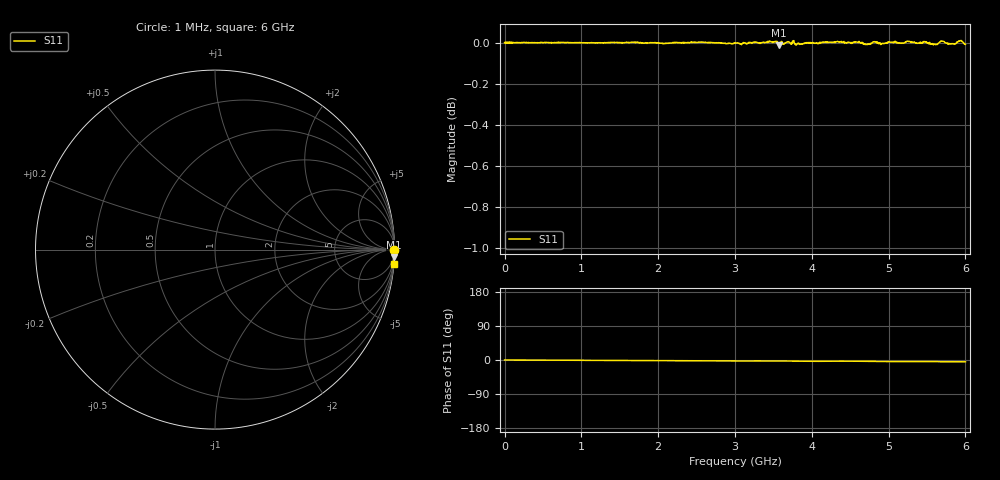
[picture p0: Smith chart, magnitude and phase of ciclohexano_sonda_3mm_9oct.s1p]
! COPPER MOUNTAIN TECHNOLOGIES, R60, 23103002, 24.3.3/3.0
! Date: 9/10/2026 12:02:29
! Data: Format [Calibration Info]
! Frequency		S11: Mag/Ang RO
# HZ S MA R 50
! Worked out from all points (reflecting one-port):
!   1280 points, 1 MHz to 6 GHz, reference 50 ohm
!   lowest |S11| = 0.0 dB at 3.575 GHz (marker M1)
!   phase of S11 starts at -0 deg and turns -5 deg over the sweep
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1000000  1 -0.0
7.55e8  1 -0.6
1.265e9  0.9999 -1.0
1.505e9  1 -1.1
1.685e9  1 -1.2
2.03e9  0.9997 -1.7
2.255e9  1 -1.9
2.385e9  0.9999 -1.8
2.62e9  1 -1.8
3.005e9  0.9999 -2.6
3.145e9  0.9994 -2.7
3.385e9  0.9999 -2.4
3.575e9  0.9986 -2.5
3.695e9  1 -2.6
3.755e9  1.001 -2.9
4.005e9  0.9998 -3.5
4.225e9  1 -3.3
4.355e9  1 -3.1
4.505e9  0.9997 -3.1
4.585e9  1 -3.2
4.745e9  0.9991 -3.8
4.95e9  0.9996 -4.2
5.255e9  1.001 -3.9
5.455e9  1 -3.8
5.615e9  0.9989 -4.5
5.735e9  1 -4.4
5.89e9  1 -4.9
6e9  0.999 -4.7
